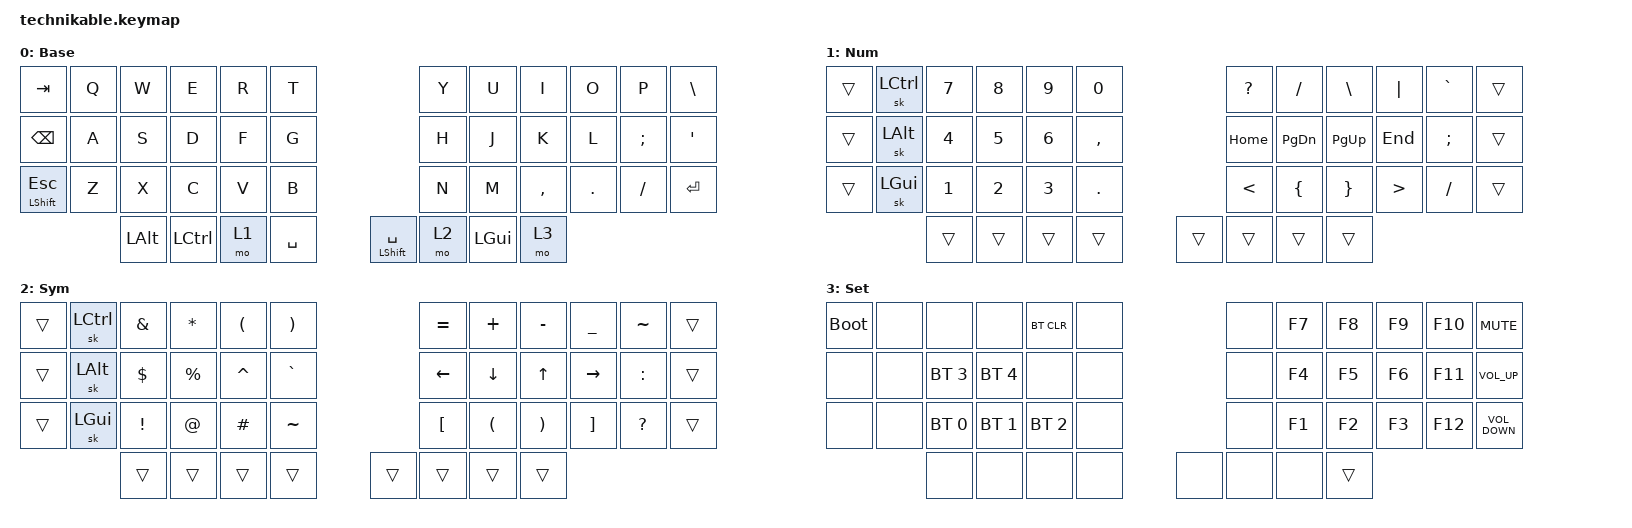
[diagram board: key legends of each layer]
/*
 * Copyright (c) 2022 Pete Johanson
 *
 * SPDX-License-Identifier: MIT
 */

#include <behaviors.dtsi>
#include <dt-bindings/zmk/bt.h>
#include <dt-bindings/zmk/keys.h>

// Using layer taps on thumbs, having quick tap as well helps w/ repeating space/backspace

&lt { quick_tap_ms = <200>; };

/ {
    chosen { zmk,matrix_transform = &ortho_transform; };

    tap_dances {
        mt_tp: mt_tp {
            compatible = "zmk,behavior-hold-tap";
            label = "MT_TP";
            bindings = <&kp>, <&kp>;

            #binding-cells = <2>;
            flavor = "tap-preferred";
            require-prior-idle-ms = <0>;
            quick-tap-ms = <0>;
            tapping-term-ms = <150>;
        };
    };

    behaviors {
    };

    keymap {
        compatible = "zmk,keymap";

        base_layer {
            label = "Base";
            bindings = <
&kp TAB              &kp Q  &kp W         &kp E             &kp R  &kp T                               &kp Y  &kp U         &kp I      &kp O    &kp P     &kp BACKSLASH
&kp BACKSPACE        &kp A  &kp S         &kp D             &kp F  &kp G                               &kp H  &kp J         &kp K      &kp L    &kp SEMI  &kp SQT
&mt_tp LSHFT ESCAPE  &kp Z  &kp X         &kp C             &kp V  &kp B                               &kp N  &kp M         &kp COMMA  &kp DOT  &kp FSLH  &kp ENTER
                            &kp LEFT_ALT  &kp LEFT_CONTROL  &mo 1  &kp SPACE  &mt_tp LEFT_SHIFT SPACE  &mo 2  &kp LEFT_GUI  &mo 3
            >;
        };

        num_layer {
            label = "Num";
            bindings = <
&trans  &sk LEFT_CONTROL  &kp N7  &kp N8  &kp N9  &kp N0             &kp QUESTION   &kp FSLH        &kp BSLH         &kp PIPE          &kp GRAVE      &trans
&trans  &sk LALT          &kp N4  &kp N5  &kp N6  &kp COMMA          &kp HOME       &kp PG_DN       &kp PG_UP        &kp END           &kp SEMICOLON  &trans
&trans  &sk LGUI          &kp N1  &kp N2  &kp N3  &kp DOT            &kp LESS_THAN  &kp LEFT_BRACE  &kp RIGHT_BRACE  &kp GREATER_THAN  &kp SLASH      &trans
                          &trans  &trans  &trans  &trans     &trans  &trans         &trans          &trans
            >;
        };

        sym_layer {
            label = "Sym";
            bindings = <
&trans  &sk LEFT_CONTROL  &kp AMPERSAND    &kp ASTERISK  &kp LEFT_PARENTHESIS  &kp RIGHT_PARENTHESIS          &kp EQUAL         &kp PLUS              &kp MINUS              &kp UNDERSCORE     &kp TILDE     &trans
&trans  &sk LEFT_ALT      &kp DOLLAR       &kp PERCENT   &kp CARET             &kp GRAVE                      &kp LEFT          &kp DOWN              &kp UP_ARROW           &kp RIGHT          &kp COLON     &trans
&trans  &sk LEFT_GUI      &kp EXCLAMATION  &kp AT_SIGN   &kp HASH              &kp TILDE                      &kp LEFT_BRACKET  &kp LEFT_PARENTHESIS  &kp RIGHT_PARENTHESIS  &kp RIGHT_BRACKET  &kp QUESTION  &trans
                          &trans           &trans        &trans                &trans                 &trans  &trans            &trans                &trans
            >;
        };

        setup_layer {
            label = "Set";
            bindings = <
&bootloader  &none  &none         &none         &bt BT_CLR    &none         &none  &kp F7  &kp F8  &kp F9  &kp F10  &kp K_MUTE
&none        &none  &bt BT_SEL 3  &bt BT_SEL 4  &none         &none         &none  &kp F4  &kp F5  &kp F6  &kp F11  &kp K_VOLUME_UP
&none        &none  &bt BT_SEL 0  &bt BT_SEL 1  &bt BT_SEL 2  &none         &none  &kp F1  &kp F2  &kp F3  &kp F12  &kp K_VOLUME_DOWN
                    &none         &none         &none         &none  &none  &none  &none   &trans
            >;
        };
    };
};
